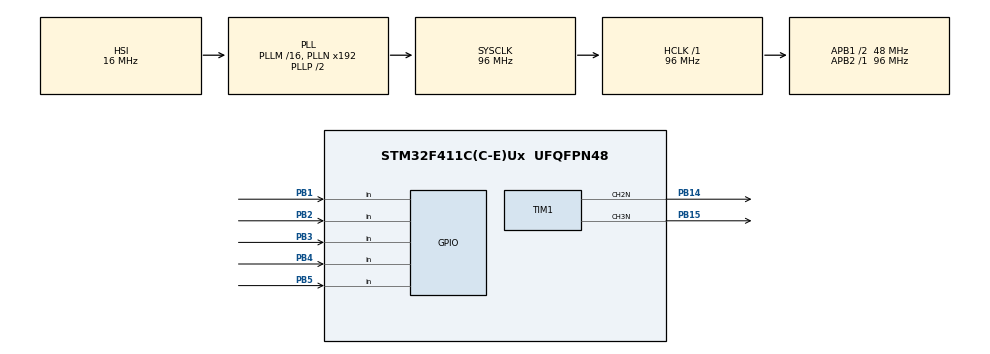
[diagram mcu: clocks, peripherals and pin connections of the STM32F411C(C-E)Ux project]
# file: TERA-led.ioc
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Mcu.Family=STM32F4
Mcu.Name=STM32F411C(C-E)Ux
Mcu.Package=UFQFPN48
NVIC.PriorityGroup=NVIC_PRIORITYGROUP_4
NVIC.TIM1_TRG_COM_TIM11_IRQn=true\:0\:0\:false\:false\:true\:true\:true\:true
PB1.Signal=GPIO_Input
PB14.Mode=PWM Generation2 CH2N
PB14.Signal=TIM1_CH2N
PB15.Mode=PWM Generation3 CH3N
PB15.Signal=TIM1_CH3N
PB2.Signal=GPIO_Input
PB3.Signal=GPIO_Input
PB4.Signal=GPIO_Input
PB5.Signal=GPIO_Input
ProjectManager.HeapSize=0x200
ProjectManager.StackSize=0x400
ProjectManager.TargetToolchain=STM32CubeIDE
RCC.AHBFreq_Value=96000000
RCC.APB1CLKDivider=RCC_HCLK_DIV2
RCC.APB1Freq_Value=48000000
RCC.APB1TimFreq_Value=96000000
RCC.APB2Freq_Value=96000000
RCC.APB2TimFreq_Value=96000000
RCC.CortexFreq_Value=96000000
RCC.HCLKFreq_Value=96000000
RCC.HSE_VALUE=25000000
RCC.HSI_VALUE=16000000
RCC.LSE_VALUE=32768
RCC.SYSCLKFreq_VALUE=96000000
RCC.SYSCLKSource=RCC_SYSCLKSOURCE_PLLCLK
RCC.VCOOutputFreq_Value=192000000
TIM1.Channel-PWM\ Generation2\ CH2N=TIM_CHANNEL_2
TIM1.Channel-PWM\ Generation3\ CH3N=TIM_CHANNEL_3
TIM11.Period=99
TIM11.Prescaler=95
VP_TIM11_VS_ClockSourceINT.Mode=Enable_Timer
board=custom

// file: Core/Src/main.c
/* USER CODE BEGIN Header */
/**
  ******************************************************************************
  * @file           : main.c
  * @brief          : Main program body
  ******************************************************************************
  * @attention
  *
  * Copyright (c) 2026 STMicroelectronics.
  * All rights reserved.
  *
  * This software is licensed under terms that can be found in the LICENSE file
  * in the root directory of this software component.
  * If no LICENSE file comes with this software, it is provided AS-IS.
  *
  ******************************************************************************
  */
/* USER CODE END Header */
#include "main.h"

/* USER CODE BEGIN Includes */
#include <stdint.h>
#include <stdbool.h>
#include "ws2812.h"
/* USER CODE END Includes */

TIM_HandleTypeDef htim1;
TIM_HandleTypeDef htim11;

void SystemClock_Config(void);
static void MX_GPIO_Init(void);
static void MX_TIM1_Init(void);
static void MX_TIM11_Init(void);

/* USER CODE BEGIN 0 */
/* ==========================================================================
 * Inputs: PB3 = Brake, PB1 = Emergency.  PB2/PB4/PB5 unused (set to analog).
 *
 * Both pins are EXTI, rising AND falling edge.  Debouncing is non-blocking
 * and tick-based:
 *   - Any edge that leaves the pin HIGH asserts the channel IMMEDIATELY
 *     (brake lights must react instantly) and refreshes a "last seen high"
 *     timestamp.
 *   - The channel de-asserts only after the pin has stayed LOW for its
 *     per-channel release time (see BRAKE_RELEASE_MS / EMERGENCY_RELEASE_MS)
 *     with no further edges.
 * That release delay swallows button contact bounce. Both inputs are steady
 * 3.3V buttons - HIGH while pressed - so a short release is all that's needed.
 * ========================================================================== */
#define IN_BRAKE_PIN      GPIO_PIN_3
#define IN_EMERGENCY_PIN  GPIO_PIN_1

#define NUM_INPUTS        2
enum { CH_BRAKE = 0, CH_EMERGENCY };

/* Per-channel low-quiet time before a channel de-asserts (debounce). Both
 * inputs are steady 3.3V buttons (HIGH while pressed), so a short release is
 * enough just to swallow contact bounce; both drop out quickly on release. */
#define BRAKE_RELEASE_MS      60u
#define EMERGENCY_RELEASE_MS  60u

static const uint16_t input_pins[NUM_INPUTS]       = { IN_BRAKE_PIN, IN_EMERGENCY_PIN };
static const uint32_t input_release_ms[NUM_INPUTS] = { BRAKE_RELEASE_MS, EMERGENCY_RELEASE_MS };

/* Which electrical level on the pin means "pressed":
 *   Brake     - the wiring pulls PB3 HIGH while the pedal is down  -> active HIGH.
 *   Emergency - the switch pulls PB1 LOW when it is turned ON; with the switch
 *               off the pin sits HIGH. Reading it as active-high made the
 *               emergency lights run backwards (lit when off, dark when on),
 *               so this channel is active LOW.
 * Each pin also gets the pull that parks it in the RELEASED state when nothing
 * is connected: pull-down for active-high, pull-up for active-low. */
static const GPIO_PinState input_active[NUM_INPUTS] = { GPIO_PIN_SET, GPIO_PIN_RESET };

/* Raw (undebounced) "is this channel pressed right now?", polarity-aware. */
static inline bool Input_Pressed(int i)
{
    return HAL_GPIO_ReadPin(GPIOB, input_pins[i]) == input_active[i];
}

static volatile uint8_t  input_state[NUM_INPUTS]   = {0};  /* debounced result */
static volatile uint32_t last_high_tick[NUM_INPUTS] = {0};

/* Called from the EXTI ISRs (via HAL) on every rising and falling edge. */
void HAL_GPIO_EXTI_Callback(uint16_t GPIO_Pin)
{
    for (int i = 0; i < NUM_INPUTS; i++) {
        if (GPIO_Pin != input_pins[i]) continue;

        if (Input_Pressed(i)) {
            input_state[i]    = 1;              /* assert immediately */
            last_high_tick[i] = HAL_GetTick();
        }
        /* Falling edges do NOT clear here - Inputs_Service() handles release
           once the line has been quiet long enough. */
    }
}

/* Non-blocking release timer, called from the main loop. */
static void Inputs_Service(void)
{
    uint32_t now = HAL_GetTick();
    for (int i = 0; i < NUM_INPUTS; i++) {
        if (!input_state[i]) continue;
        if ((now - last_high_tick[i]) < input_release_ms[i]) continue;

        if (!Input_Pressed(i)) {
            input_state[i] = 0;
        } else {
            last_high_tick[i] = now;            /* still pressed, keep asserted */
        }
    }
}

/* Configure PB3/PB5 as EXTI inputs and park the unused pins in analog mode.
   Done here (not in CubeMX) so regenerating code can't undo it. */
static void Inputs_Init(void)
{
    GPIO_InitTypeDef g = {0};

    __HAL_RCC_GPIOB_CLK_ENABLE();

    /* PB2, PB4, PB5 unused -> analog, lowest leakage */
    g.Pin  = GPIO_PIN_2 | GPIO_PIN_4 | GPIO_PIN_5;
    g.Mode = GPIO_MODE_ANALOG;
    g.Pull = GPIO_NOPULL;
    HAL_GPIO_Init(GPIOB, &g);

    /* Both inputs interrupt on rising AND falling edges; only the resting pull
       differs, so that an unconnected pin always reads as "released".

       PB3 (brake) is active HIGH -> pull-down parks it low/released. */
    g.Pin  = IN_BRAKE_PIN;
    g.Mode = GPIO_MODE_IT_RISING_FALLING;
    g.Pull = GPIO_PULLDOWN;
    HAL_GPIO_Init(GPIOB, &g);

    /* PB1 (emergency) is active LOW -> pull-up parks it high/released. */
    g.Pin  = IN_EMERGENCY_PIN;
    g.Mode = GPIO_MODE_IT_RISING_FALLING;
    g.Pull = GPIO_PULLUP;
    HAL_GPIO_Init(GPIOB, &g);

    HAL_NVIC_SetPriority(EXTI3_IRQn, 5, 0);     /* PB3 brake     */
    HAL_NVIC_EnableIRQ(EXTI3_IRQn);
    HAL_NVIC_SetPriority(EXTI1_IRQn, 5, 0);     /* PB1 emergency */
    HAL_NVIC_EnableIRQ(EXTI1_IRQn);

    /* Seed the state in case a signal is already present at power-up */
    for (int i = 0; i < NUM_INPUTS; i++) {
        if (Input_Pressed(i)) {
            input_state[i]    = 1;
            last_high_tick[i] = HAL_GetTick();
        }
    }
}

/* ==========================================================================
 * Light sequences.  Strip driver itself lives in ws2812.c (PB15 via SPI2).
 *
 *   Startup   - red sweeps slowly from the middle out to both ends, then the
 *               whole strip settles down to the dim running level.
 *   Running   - solid red at ~8%  (idle state, after startup)
 *   Brake     - solid red at 100%
 *   Emergency - the outer EDGE_COUNT LEDs at each end blink full-red <-> off
 *               on top of whatever the rest of the strip is showing.
 * ========================================================================== */
#define LED_COUNT        WS_NUM_LEDS   /* 144 */
#define EDGE_COUNT_L     40            /* emergency LEDs at the index-0 end (left)  */
#define EDGE_COUNT_R     50            /* emergency LEDs at the far end (right)     */

/* Emergency "ember"/amber colour for the end sections. Raise EMERG_G toward
   ~190 for a yellower amber, lower it toward 0 for a redder/orange amber. */
#define EMERG_R          255u
#define EMERG_G          100u

#define LEVEL_FULL       255u          /* brake      = 100%                 */
/* Running/idle level = ~8% of the brake brightness. NOTE: the driver caps
 * everything at s_bright = 96, so what an LED actually gets is
 * LEVEL_RUN * 96 / 255:  20 -> 7, against the brake's 96, i.e. ~8%.
 * Lower = dimmer, but below an effective ~4 (LEVEL_RUN ~= 11) WS2812 red goes
 * steppy and reads as "off", which is what 11 was doing. */
#define LEVEL_RUN        20u

/* Emergency is a steady button, so the firmware blinks the end-sections on its
   own timer (EMERG_HALF_MS = half of one on/off blink period). */
#define EMERG_HALF_MS    350u          /* flash on/off half-period (~1.4 Hz) */
#define SWEEP_STEP_MS    0u            /* sweep pace; 0 = as fast as the strip refreshes (~0.6 s total) */

/* --------------------------------------------------------------------------
 * TEMPORARY DIAGNOSTIC.  Set to 0 to get the normal boot animation back.
 *
 * Runs five slow, unmistakable stages so we can see which assumption is
 * wrong. Each stage holds long enough to photograph:
 *   1. everything OFF for 1.5 s   -> anything still lit is NOT being driven
 *   2. first pixel only           -> shows which physical end is index 0
 *   3. centre pixel only          -> should be the exact middle of the strip
 *   4. last pixel only            -> should be the far end
 *   5. every 10th pixel for 5 s   -> count the dots x10 = real strip length
 * ------------------------------------------------------------------------ */
#define STARTUP_DIAG 0   /* 1 = run the boot diagnostic instead of the sweep */

#if STARTUP_DIAG
static void Startup_Diag(void)
{
    /* 0 - TIMING PROBE: whole strip full red, held 2 s, then off 1 s.
     *   - If you see a steady ~2 s red hold, HAL_Delay() works -> the missing
     *     sweep is a DISPLAY/signalling issue, not timing.
     *   - If it just flashes past instantly, HAL_Delay() is NOT delaying ->
     *     the whole animation is collapsing and it's a clock/timing problem. */
    WS2812_FillRGB(LEVEL_FULL, 0, 0);
    WS2812_Show();
    HAL_Delay(2000);
    WS2812_Clear();
    WS2812_Show();
    HAL_Delay(1000);

    WS2812_Clear();
    WS2812_Show();
    HAL_Delay(1500);                                    /* 1 - all off      */

    WS2812_Clear();
    WS2812_SetPixel(0, LEVEL_FULL, 0, 0);
    WS2812_Show();
    HAL_Delay(1500);                                    /* 2 - first pixel  */

    WS2812_Clear();
    WS2812_SetPixel(LED_COUNT / 2u, LEVEL_FULL, 0, 0);
    WS2812_Show();
    HAL_Delay(1500);                                    /* 3 - centre pixel */

    WS2812_Clear();
    WS2812_SetPixel(LED_COUNT - 1u, LEVEL_FULL, 0, 0);
    WS2812_Show();
    HAL_Delay(1500);                                    /* 4 - last pixel   */

    WS2812_Clear();
    for (uint16_t i = 0; i < LED_COUNT; i += 10u) {
        WS2812_SetPixel(i, LEVEL_FULL, 0, 0);
    }
    WS2812_Show();
    HAL_Delay(5000);                                    /* 5 - count marks  */
}
#endif

/* Start sweep: red fills from the centre outwards to both ends, holds a
   moment, then goes dark - ready for the main loop / brake / emergency. */
static void Startup_Sequence(void)
{
    const uint16_t right0 = LED_COUNT / 2u;
    const uint16_t left0  = (LED_COUNT - 1u) / 2u;
    const uint16_t steps  = LED_COUNT - right0;

    WS2812_Clear();
    WS2812_Show();

    for (uint16_t s = 0; s < steps; s++) {
        WS2812_SetPixel((uint16_t)(right0 + s), LEVEL_FULL, 0, 0);
        WS2812_SetPixel((uint16_t)(left0  - s), LEVEL_FULL, 0, 0);
        WS2812_Show();
        HAL_Delay(SWEEP_STEP_MS);
    }

    HAL_Delay(100);       /* brief hold, then dark */
    WS2812_Clear();       /* dark, ready for brake / emergency */
    WS2812_Show();
}

/* Paint one frame from the current input state:
 *   Idle      - whole strip at the dim running level (~8%).
 *   Brake     - whole strip SOLID full red (no blinking).
 *   Emergency - the 14 LEDs at EACH end blink full-red <-> off; the centre
 *               just shows the base (dark when idle, full red when braking).
 * The strip sits behind a red lens, so only red/brightness is meaningful.
 * 'emergency_lit' is the current phase of the firmware blink timer. */
static void Render(bool brake, bool emergency, bool emergency_lit)
{
    /* Base layer never blinks: it is either the dim idle glow or solid full
       red. Only the end sections below are allowed to flash. */
    uint8_t base = brake ? (uint8_t)LEVEL_FULL : (uint8_t)LEVEL_RUN;

    WS2812_FillRGB(base, 0, 0);

    if (emergency) {
        /* Lit phase = amber; dark phase falls back to the base layer so the
           ends dip to the idle glow (or the brake red) instead of punching
           black gaps in the strip. */
        uint8_t er = emergency_lit ? (uint8_t)EMERG_R : base;
        uint8_t eg = emergency_lit ? (uint8_t)EMERG_G : 0u;
        for (uint16_t i = 0; i < EDGE_COUNT_L; i++)           /* left end  (0 ..)         */
            WS2812_SetPixel(i, er, eg, 0);
        for (uint16_t i = 0; i < EDGE_COUNT_R; i++)           /* right end (.. LED_COUNT-1)*/
            WS2812_SetPixel((uint16_t)(LED_COUNT - 1u - i), er, eg, 0);
    }

    WS2812_Show();
}

/* USER CODE END 0 */

int main(void)
{

  /* MCU Configuration--------------------------------------------------------*/

  /* Reset of all peripherals, Initializes the Flash interface and the Systick. */
  HAL_Init();

  /* Configure the system clock */
  SystemClock_Config();

  /* Initialize all configured peripherals */
  MX_GPIO_Init();
  MX_TIM1_Init();
  MX_TIM11_Init();
  /* USER CODE BEGIN 2 */
  WS2812_Init();       /* TIM1_CH2N on PB14 + blank the strip */

  /* The start button powers the board, so power-up IS the "start" event. Run
     the start sweep NOW, in setup, BEFORE any interrupts are enabled - that
     way nothing (e.g. a noisy input pin firing EXTIs) can disturb its timing.
     Only after the sweep finishes do we enable the brake / emergency inputs
     and drop into the main loop. */
#if STARTUP_DIAG
  Startup_Diag();      /* TEMP diagnostic: timing probe + position/length test */
#else
  Startup_Sequence();  /* centre -> ends sweep, then dark */
#endif

  Inputs_Init();       /* NOW enable PB3 brake / PB1 emergency interrupts */
  /* USER CODE END 2 */

  /* Infinite loop */
  while (1)
  {

    /* USER CODE BEGIN 3 */

    /* Run the non-blocking release timer for the debounced inputs */
    Inputs_Service();

    /* ---- Inputs (PB1, PB2, PB4 unused) ---- */
    bool brake     = input_state[CH_BRAKE];      /* PB3 = brake light      */
    bool emergency = input_state[CH_EMERGENCY];  /* PB5 = emergency/hazard */

    /* Emergency is a steady button, so the firmware blinks the end sections
       itself: emergency_lit toggles every EMERG_HALF_MS (~1.4 Hz). */
    bool emergency_lit = ((HAL_GetTick() / EMERG_HALF_MS) % 2u) == 0u;

    /* Only push a new frame when the picture actually changes */
    uint8_t frame = (uint8_t)((brake                        ? 1u : 0u)
                            | (emergency                    ? 2u : 0u)
                            | ((emergency && emergency_lit) ? 4u : 0u));
    static uint8_t last_frame = 0xFF;
    if (frame != last_frame) {
        Render(brake, emergency, emergency_lit);
        last_frame = frame;
    }

    HAL_Delay(5);
  }
  /* USER CODE END 3 */
}

void SystemClock_Config(void)
{
  RCC_OscInitTypeDef RCC_OscInitStruct = {0};
  RCC_ClkInitTypeDef RCC_ClkInitStruct = {0};

  /** Configure the main internal regulator output voltage
  */
  __HAL_RCC_PWR_CLK_ENABLE();
  __HAL_PWR_VOLTAGESCALING_CONFIG(PWR_REGULATOR_VOLTAGE_SCALE1);

  /** Initializes the RCC Oscillators according to the specified parameters
  * in the RCC_OscInitTypeDef structure.
  */
  RCC_OscInitStruct.OscillatorType = RCC_OSCILLATORTYPE_HSI;
  RCC_OscInitStruct.HSIState = RCC_HSI_ON;
  RCC_OscInitStruct.HSICalibrationValue = RCC_HSICALIBRATION_DEFAULT;
  RCC_OscInitStruct.PLL.PLLState = RCC_PLL_ON;
  RCC_OscInitStruct.PLL.PLLSource = RCC_PLLSOURCE_HSI;
  RCC_OscInitStruct.PLL.PLLM = 16;
  RCC_OscInitStruct.PLL.PLLN = 192;
  RCC_OscInitStruct.PLL.PLLP = RCC_PLLP_DIV2;
  RCC_OscInitStruct.PLL.PLLQ = 4;
  if (HAL_RCC_OscConfig(&RCC_OscInitStruct) != HAL_OK)
  {
    Error_Handler();
  }

  /** Initializes the CPU, AHB and APB buses clocks
  */
  RCC_ClkInitStruct.ClockType = RCC_CLOCKTYPE_HCLK|RCC_CLOCKTYPE_SYSCLK
                              |RCC_CLOCKTYPE_PCLK1|RCC_CLOCKTYPE_PCLK2;
  RCC_ClkInitStruct.SYSCLKSource = RCC_SYSCLKSOURCE_PLLCLK;
  RCC_ClkInitStruct.AHBCLKDivider = RCC_SYSCLK_DIV1;
  RCC_ClkInitStruct.APB1CLKDivider = RCC_HCLK_DIV2;
  RCC_ClkInitStruct.APB2CLKDivider = RCC_HCLK_DIV1;

  if (HAL_RCC_ClockConfig(&RCC_ClkInitStruct, FLASH_LATENCY_3) != HAL_OK)
  {
    Error_Handler();
  }
}

static void MX_TIM1_Init(void)
{

  TIM_MasterConfigTypeDef sMasterConfig = {0};
  TIM_OC_InitTypeDef sConfigOC = {0};
  TIM_BreakDeadTimeConfigTypeDef sBreakDeadTimeConfig = {0};

  htim1.Instance = TIM1;
  htim1.Init.Prescaler = 0;
  htim1.Init.CounterMode = TIM_COUNTERMODE_UP;
  htim1.Init.Period = 65535;
  htim1.Init.ClockDivision = TIM_CLOCKDIVISION_DIV1;
  htim1.Init.RepetitionCounter = 0;
  htim1.Init.AutoReloadPreload = TIM_AUTORELOAD_PRELOAD_DISABLE;
  if (HAL_TIM_PWM_Init(&htim1) != HAL_OK)
  {
    Error_Handler();
  }
  sMasterConfig.MasterOutputTrigger = TIM_TRGO_RESET;
  sMasterConfig.MasterSlaveMode = TIM_MASTERSLAVEMODE_DISABLE;
  if (HAL_TIMEx_MasterConfigSynchronization(&htim1, &sMasterConfig) != HAL_OK)
  {
    Error_Handler();
  }
  sConfigOC.OCMode = TIM_OCMODE_PWM1;
  sConfigOC.Pulse = 0;
  sConfigOC.OCPolarity = TIM_OCPOLARITY_HIGH;
  sConfigOC.OCNPolarity = TIM_OCNPOLARITY_HIGH;
  sConfigOC.OCFastMode = TIM_OCFAST_DISABLE;
  sConfigOC.OCIdleState = TIM_OCIDLESTATE_RESET;
  sConfigOC.OCNIdleState = TIM_OCNIDLESTATE_RESET;
  if (HAL_TIM_PWM_ConfigChannel(&htim1, &sConfigOC, TIM_CHANNEL_2) != HAL_OK)
  {
    Error_Handler();
  }
  if (HAL_TIM_PWM_ConfigChannel(&htim1, &sConfigOC, TIM_CHANNEL_3) != HAL_OK)
  {
    Error_Handler();
  }
  sBreakDeadTimeConfig.OffStateRunMode = TIM_OSSR_DISABLE;
  sBreakDeadTimeConfig.OffStateIDLEMode = TIM_OSSI_DISABLE;
  sBreakDeadTimeConfig.LockLevel = TIM_LOCKLEVEL_OFF;
  sBreakDeadTimeConfig.DeadTime = 0;
  sBreakDeadTimeConfig.BreakState = TIM_BREAK_DISABLE;
  sBreakDeadTimeConfig.BreakPolarity = TIM_BREAKPOLARITY_HIGH;
  sBreakDeadTimeConfig.AutomaticOutput = TIM_AUTOMATICOUTPUT_DISABLE;
  if (HAL_TIMEx_ConfigBreakDeadTime(&htim1, &sBreakDeadTimeConfig) != HAL_OK)
  {
    Error_Handler();
  }
  HAL_TIM_MspPostInit(&htim1);

}

static void MX_TIM11_Init(void)
{

  htim11.Instance = TIM11;
  htim11.Init.Prescaler = 95;
  htim11.Init.CounterMode = TIM_COUNTERMODE_UP;
  htim11.Init.Period = 99;
  htim11.Init.ClockDivision = TIM_CLOCKDIVISION_DIV1;
  htim11.Init.AutoReloadPreload = TIM_AUTORELOAD_PRELOAD_DISABLE;
  if (HAL_TIM_Base_Init(&htim11) != HAL_OK)
  {
    Error_Handler();
  }

}

static void MX_GPIO_Init(void)
{
  GPIO_InitTypeDef GPIO_InitStruct = {0};

  /* GPIO Ports Clock Enable */
  __HAL_RCC_GPIOB_CLK_ENABLE();

  /*Configure GPIO pins : PB1 PB2 PB3 PB4
                           PB5 */
  GPIO_InitStruct.Pin = GPIO_PIN_1|GPIO_PIN_2|GPIO_PIN_3|GPIO_PIN_4
                          |GPIO_PIN_5;
  GPIO_InitStruct.Mode = GPIO_MODE_INPUT;
  GPIO_InitStruct.Pull = GPIO_NOPULL;
  HAL_GPIO_Init(GPIOB, &GPIO_InitStruct);

}

/* USER CODE BEGIN 4 */

/* EXTI vectors. These live here (not stm32f4xx_it.c) because the EXTI lines
   are configured in code rather than in CubeMX, so CubeMX never generates
   them. HAL_GPIO_EXTI_IRQHandler clears the flag and calls our callback. */
void EXTI3_IRQHandler(void)     /* PB3 = brake */
{
    HAL_GPIO_EXTI_IRQHandler(IN_BRAKE_PIN);
}

void EXTI1_IRQHandler(void)     /* PB1 = emergency */
{
    HAL_GPIO_EXTI_IRQHandler(IN_EMERGENCY_PIN);
}

/* USER CODE END 4 */

void Error_Handler(void)
{
  __disable_irq();
  while (1)
  {
  }
}
